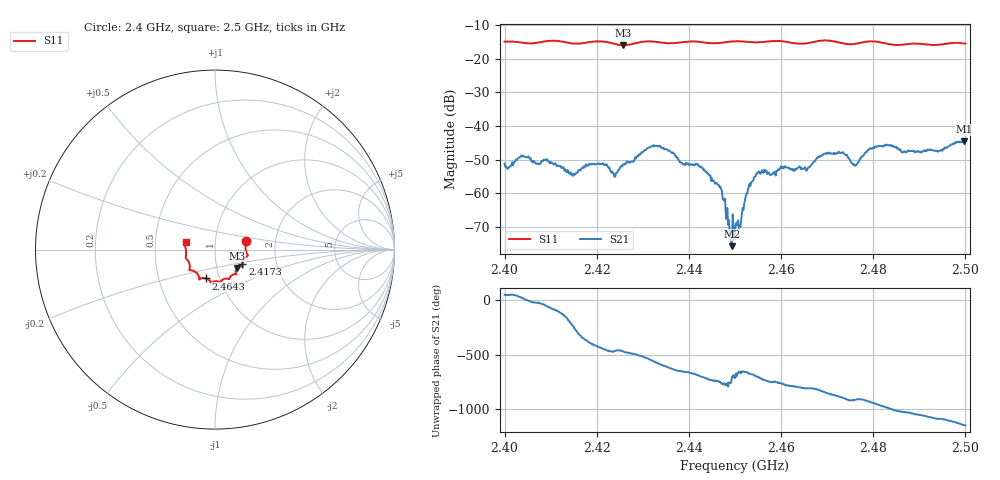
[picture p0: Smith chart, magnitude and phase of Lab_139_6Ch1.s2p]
# Hz S RI R 50
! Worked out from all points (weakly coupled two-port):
!   601 points, 2.4 GHz to 2.5 GHz, reference 50 ohm
!   highest |S21| = -44.54 dB at 2.4997 GHz (marker M1); lowest = -75.8 dB at 2.4493 GHz (marker M2)
!   lowest |S11| = -15.9 dB at 2.4257 GHz (marker M3), VSWR 1.38, Z = 62.5 - j13.1 ohm
!   |S11| at or under -10 dB: start of sweep to end of sweep
!   S12 and S22 are empty: the file has one direction only
!   S11 on the Smith chart (normalised r, x): 2.4 GHz: 1.41, +0.14; 2.4173 GHz: 1.34, -0.23; 2.4643 GHz: 0.86, -0.28; 2.5 GHz: 0.72, +0.06
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2.4e9  0.1736 0.0493  0.00188 0.00202  0 0  0 0
2.404e9  0.172 0.025  0.00348 0.000945  0 0  0 0
2.414833e9  0.1606 -0.0539  -0.000938 0.00155  0 0  0 0
2.416667e9  0.1532 -0.0747  0.00212 0.000959  0 0  0 0
2.417333e9  0.1524 -0.0821  0.00241 5.07e-05  0 0  0 0
2.424e9  0.1368 -0.0944  -0.000455 -0.0017  0 0  0 0
2.425667e9  0.1229 -0.1024  -0.000857 -0.00254  0 0  0 0
2.433333e9  0.1128 -0.1367  -0.00379 0.00317  0 0  0 0
2.4465e9  0.0439 -0.1667  0.00121 -0.000522  0 0  0 0
2.449333e9  0.0312 -0.1792  0.000154 5.03e-05  0 0  0 0
2.45e9  0.0294 -0.1809  0.000257 2.84e-05  0 0  0 0
2.451e9  0.0265 -0.1811  0.00018 0.000271  0 0  0 0
2.452667e9  0.0195 -0.1782  0.000508 0.000852  0 0  0 0
2.454667e9  0.00476 -0.1763  0.00183 0.000711  0 0  0 0
2.464333e9  -0.0497 -0.1606  0.000336 -0.00224  0 0  0 0
2.466667e9  -0.0759 -0.1596  7.42e-05 -0.00269  0 0  0 0
2.473e9  -0.0909 -0.147  -0.00387 -0.000802  0 0  0 0
2.476167e9  -0.1182 -0.119  -0.00252 0.000438  0 0  0 0
2.483333e9  -0.1404 -0.0896  -0.00019 0.0052  0 0  0 0
2.490333e9  -0.1626 -0.0393  0.00357 0.00188  0 0  0 0
2.499667e9  -0.165 0.0404  0.00267 -0.00529  0 0  0 0
2.5e9  -0.1632 0.0423  0.00229 -0.00534  0 0  0 0
